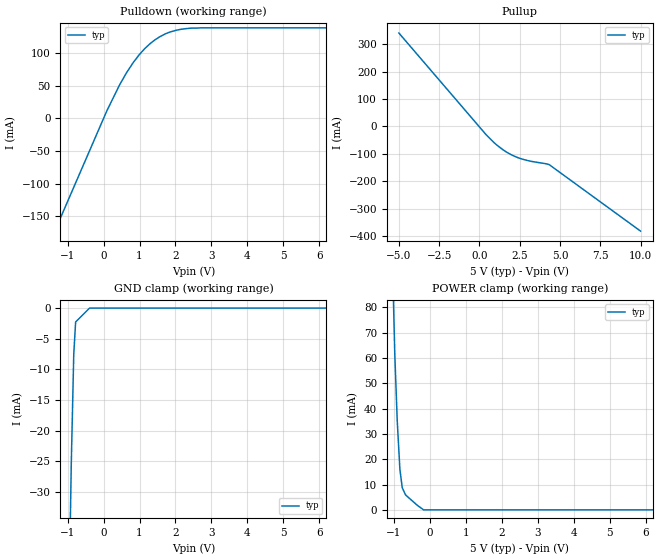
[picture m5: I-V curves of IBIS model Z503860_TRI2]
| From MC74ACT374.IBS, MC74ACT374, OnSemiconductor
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| (C) COPYRIGHT 1993-2000
| MENTOR GRAPHICS CORPORATION
| ICX STANDARD LIBRARY, ICX PROJECT MODELING,
| ICX CUSTOM MODELING, ICX VENDOR MODEL
| ALL RIGHTS RESERVED.
| THE FOLLOWING ARE TRADEMARKS OR SERVICE MARKS OF
| MENTOR GRAPHICS CORPORATION:ICX (R), ICX STANDARD
| LIBRARY(R), ICX PROJECT MODELING(R), ICX CUSTOM
| MODELING(R), qualityIBIS(TM), MODELVIEWER(TM),
| AND MODELEDITOR(TM)
| ALL COPIES OF SOFTWARE, INCLUDING BUT NOT LIMITED TO
| ANY MODIFICATIONS, ENHANCEMENTS OR DERIVATIVE WORKS,
| MUST CONTAIN ALL MENTOR GRAPHICS CORPORATION'S
| NOTICES AND LEGENDS, INCLUDING THOSE EMBEDDED IN
| SOFTWARE AND THOSE AFFIXED TO SOFTWARE MEDIUM
| AND CONTAINER, AS RECEIVED FROM MENTOR GRAPHICS
| CORPORATION.
| Model Application Version 1.89 2/18/99.
[Model] Z503860_TRI2
Model_type 3-state
Vref=0.000V
Rref=500.0Mohms
Cref=50.00pF
Vmeas=1.500V
C_comp 8.000pF NA NA
| variable typ   min   max
[Voltage Range] 5.000V NA NA
[POWER Clamp Reference] 5.000V NA NA
[Pullup Reference] 5.000V NA NA
[Pulldown Reference] 0.000V NA NA
[GND Clamp Reference] 0.000V NA NA
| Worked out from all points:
|   slope of the pulldown table from 0 to 0.75 V, typ, clamps not added: 9.44 ohm
|   slope of the pullup table from 0 to 0.75 V, typ, clamps not added: 15.6 ohm
|   POWER clamp passes 1 mA (typ) near -0.27 V on its own axis
[GND Clamp]
-5V       -1.461A    NA         NA
-898.4mV  -25.35mA   NA         NA
-829.2mV  -7.468mA   NA         NA
-777.4mV  -2.269mA   NA         NA
-388.7mV  0A         NA         NA
10V       0A         NA         NA
[Pulldown]
-5V       -637mA     NA         NA
92.93mV   11.98mA    NA         NA
449.2mV   51.92mA    NA         NA
648.2mV   71.14mA    NA         NA
830.1mV   86.25mA    NA         NA
997mV     98.19mA    NA         NA
1.148V    107.4mA    NA         NA
1.431V    120.8mA    NA         NA
1.838V    132.6mA    NA         NA
2.135V    136.8mA    NA         NA
2.714V    139.2mA    NA         NA
10V       139.2mA    NA         NA
[Pullup]
-5V       340.7mA    NA         NA
410mV     -30mA      NA         NA
1.089V    -68.46mA   NA         NA
1.832V    -98.83mA   NA         NA
2.415V    -114.6mA   NA         NA
3.023V    -125mA     NA         NA
4.331V    -139.6mA   NA         NA
10V       -382.1mA   NA         NA
[POWER Clamp]
-5V       2.325A     NA         NA
-977mV    61.27mA    NA         NA
-909mV    34.98mA    NA         NA
-835mV    15.9mA     NA         NA
-770mV    8.743mA    NA         NA
-677mV    5.885mA    NA         NA
-352mV    1.802mA    NA         NA
-176mV    0A         NA         NA
10V       0A         NA         NA
[Ramp]
| variable typ min max
dV/dt_r 2.932/849.0p NA NA
dV/dt_f 2.932/833.5p NA NA
R_load = 500.0Ohms
